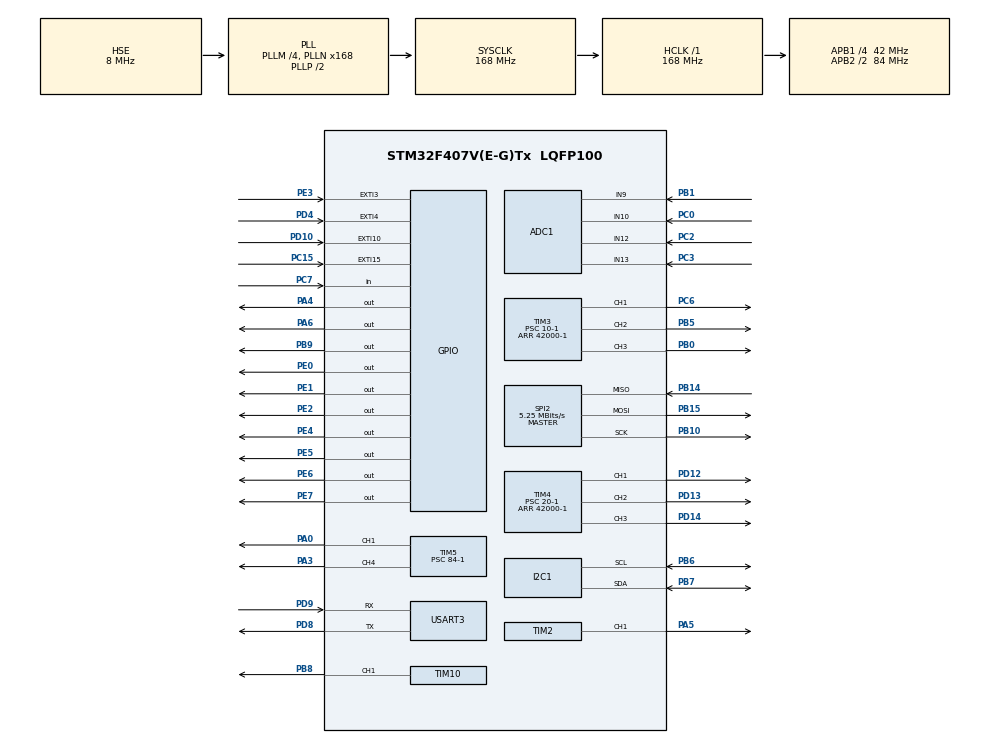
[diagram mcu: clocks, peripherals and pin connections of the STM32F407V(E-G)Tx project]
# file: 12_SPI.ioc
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ADC1.Channel-0\#ChannelRegularConversion=ADC_CHANNEL_10
ADC1.Channel-1\#ChannelRegularConversion=ADC_CHANNEL_12
ADC1.Channel-2\#ChannelRegularConversion=ADC_CHANNEL_13
ADC1.Channel-3\#ChannelRegularConversion=ADC_CHANNEL_9
ADC1.ContinuousConvMode=ENABLE
ADC1.DMAContinuousRequests=ENABLE
ADC1.NbrOfConversion=4
ADC1.NbrOfConversionFlag=1
ADC1.Rank-0\#ChannelRegularConversion=1
ADC1.Rank-1\#ChannelRegularConversion=2
ADC1.Rank-2\#ChannelRegularConversion=3
ADC1.Rank-3\#ChannelRegularConversion=4
ADC1.SamplingTime-0\#ChannelRegularConversion=ADC_SAMPLETIME_84CYCLES
ADC1.SamplingTime-1\#ChannelRegularConversion=ADC_SAMPLETIME_84CYCLES
ADC1.SamplingTime-2\#ChannelRegularConversion=ADC_SAMPLETIME_84CYCLES
ADC1.SamplingTime-3\#ChannelRegularConversion=ADC_SAMPLETIME_84CYCLES
ADC1.ScanConvMode=ENABLE
ADC1.master=1
Dma.ADC1.0.Direction=DMA_PERIPH_TO_MEMORY
Dma.ADC1.0.FIFOMode=DMA_FIFOMODE_DISABLE
Dma.ADC1.0.Instance=DMA2_Stream0
Dma.ADC1.0.MemDataAlignment=DMA_MDATAALIGN_HALFWORD
Dma.ADC1.0.MemInc=DMA_MINC_ENABLE
Dma.ADC1.0.Mode=DMA_CIRCULAR
Dma.ADC1.0.PeriphDataAlignment=DMA_PDATAALIGN_HALFWORD
Dma.ADC1.0.PeriphInc=DMA_PINC_DISABLE
Dma.ADC1.0.Priority=DMA_PRIORITY_LOW
Dma.Request0=ADC1
I2C1.I2C_Mode=I2C_Fast
Mcu.Family=STM32F4
Mcu.Name=STM32F407V(E-G)Tx
Mcu.Package=LQFP100
NVIC.DMA2_Stream0_IRQn=true\:0\:0\:false\:false\:true\:false\:true\:true
NVIC.EXTI15_10_IRQn=true\:0\:0\:false\:true\:true\:5\:true\:true\:true
NVIC.EXTI3_IRQn=true\:0\:0\:false\:true\:true\:3\:true\:true\:true
NVIC.EXTI4_IRQn=true\:0\:0\:false\:true\:true\:4\:true\:true\:true
NVIC.PriorityGroup=NVIC_PRIORITYGROUP_4
NVIC.TIM7_IRQn=true\:0\:0\:false\:true\:true\:2\:true\:true\:true
NVIC.USART3_IRQn=true\:0\:0\:false\:true\:true\:1\:true\:true\:true
PA0-WKUP.Signal=S_TIM5_CH1
PA3.Signal=S_TIM5_CH4
PA4.Signal=GPIO_Output
PA5.Signal=S_TIM2_CH1_ETR
PA6.Signal=GPIO_Output
PB0.Signal=S_TIM3_CH3
PB1.Signal=ADCx_IN9
PB10.Mode=Full_Duplex_Master
PB10.Signal=SPI2_SCK
PB14.Mode=Full_Duplex_Master
PB14.Signal=SPI2_MISO
PB15.Mode=Full_Duplex_Master
PB15.Signal=SPI2_MOSI
PB5.Signal=S_TIM3_CH2
PB6.Mode=I2C
PB6.Signal=I2C1_SCL
PB7.Mode=I2C
PB7.Signal=I2C1_SDA
PB8.Signal=S_TIM10_CH1
PB9.Signal=GPIO_Output
PC0.Signal=ADCx_IN10
PC15-OSC32_OUT.Signal=GPXTI15
PC2.Signal=ADCx_IN12
PC3.Signal=ADCx_IN13
PC6.Signal=S_TIM3_CH1
PC7.Signal=GPIO_Input
PD10.Signal=GPXTI10
PD12.Signal=S_TIM4_CH1
PD13.Signal=S_TIM4_CH2
PD14.Signal=S_TIM4_CH3
PD4.Signal=GPXTI4
PD8.Mode=Asynchronous
PD8.Signal=USART3_TX
PD9.Mode=Asynchronous
PD9.Signal=USART3_RX
PE0.Signal=GPIO_Output
PE1.Signal=GPIO_Output
PE2.Signal=GPIO_Output
PE3.Signal=GPXTI3
PE4.Signal=GPIO_Output
PE5.Signal=GPIO_Output
PE6.Signal=GPIO_Output
PE7.Signal=GPIO_Output
PH0-OSC_IN.Mode=HSE-External-Oscillator
PH0-OSC_IN.Signal=RCC_OSC_IN
PH1-OSC_OUT.Mode=HSE-External-Oscillator
PH1-OSC_OUT.Signal=RCC_OSC_OUT
ProjectManager.HeapSize=0x200
ProjectManager.StackSize=0x400
ProjectManager.TargetToolchain=STM32CubeIDE
RCC.48MHZClocksFreq_Value=84000000
RCC.AHBFreq_Value=168000000
RCC.APB1CLKDivider=RCC_HCLK_DIV4
RCC.APB1Freq_Value=42000000
RCC.APB1TimFreq_Value=84000000
RCC.APB2CLKDivider=RCC_HCLK_DIV2
RCC.APB2Freq_Value=84000000
RCC.APB2TimFreq_Value=168000000
RCC.CortexFreq_Value=168000000
RCC.HCLKFreq_Value=168000000
RCC.HSE_VALUE=8000000
RCC.HSI_VALUE=16000000
RCC.LSE_VALUE=32768
RCC.PLLM=4
RCC.PLLN=168
RCC.PLLSourceVirtual=RCC_PLLSOURCE_HSE
RCC.SYSCLKFreq_VALUE=168000000
RCC.SYSCLKSource=RCC_SYSCLKSOURCE_PLLCLK
RCC.VCOOutputFreq_Value=336000000
SH.ADCx_IN10.0=ADC1_IN10,IN10
SH.ADCx_IN12.0=ADC1_IN12,IN12
SH.ADCx_IN13.0=ADC1_IN13,IN13
SH.ADCx_IN9.0=ADC1_IN9,IN9
SH.S_TIM10_CH1.0=TIM10_CH1,PWM Generation1 CH1
SH.S_TIM2_CH1_ETR.0=TIM2_CH1,PWM Generation1 CH1
SH.S_TIM3_CH1.0=TIM3_CH1,PWM Generation1 CH1
SH.S_TIM3_CH2.0=TIM3_CH2,PWM Generation2 CH2
SH.S_TIM3_CH3.0=TIM3_CH3,PWM Generation3 CH3
SH.S_TIM4_CH1.0=TIM4_CH1,PWM Generation1 CH1
SH.S_TIM4_CH2.0=TIM4_CH2,PWM Generation2 CH2
SH.S_TIM4_CH3.0=TIM4_CH3,PWM Generation3 CH3
SH.S_TIM5_CH1.0=TIM5_CH1,PWM Generation1 CH1
SH.S_TIM5_CH4.0=TIM5_CH4,PWM Generation4 CH4
SPI2.BaudRatePrescaler=SPI_BAUDRATEPRESCALER_8
SPI2.CLKPhase=SPI_PHASE_2EDGE
SPI2.CLKPolarity=SPI_POLARITY_HIGH
SPI2.CalculateBaudRate=5.25 MBits/s
SPI2.Direction=SPI_DIRECTION_2LINES
SPI2.Mode=SPI_MODE_MASTER
SPI2.VirtualType=VM_MASTER
TIM10.Channel=TIM_CHANNEL_1
TIM10.Period=10000-1
TIM10.Prescaler=336-1
TIM10.Pulse=100
TIM2.Channel-PWM\ Generation1\ CH1=TIM_CHANNEL_1
TIM2.Period=168-1
TIM2.Prescaler=1000-1
TIM2.Pulse-PWM\ Generation1\ CH1=84
TIM3.Channel-PWM\ Generation1\ CH1=TIM_CHANNEL_1
TIM3.Channel-PWM\ Generation2\ CH2=TIM_CHANNEL_2
TIM3.Channel-PWM\ Generation3\ CH3=TIM_CHANNEL_3
TIM3.Period=42000-1
TIM3.Prescaler=10-1
TIM3.Pulse-PWM\ Generation1\ CH1=21000-1
TIM3.Pulse-PWM\ Generation2\ CH2=10500-1
TIM3.Pulse-PWM\ Generation3\ CH3=5250-1
TIM4.Channel-PWM\ Generation1\ CH1=TIM_CHANNEL_1
TIM4.Channel-PWM\ Generation2\ CH2=TIM_CHANNEL_2
TIM4.Channel-PWM\ Generation3\ CH3=TIM_CHANNEL_3
TIM4.Period=42000-1
TIM4.Prescaler=20-1
TIM4.Pulse-PWM\ Generation1\ CH1=21000-1
TIM4.Pulse-PWM\ Generation2\ CH2=10500-1
TIM4.Pulse-PWM\ Generation3\ CH3=5250-1
TIM5.Channel-PWM\ Generation1\ CH1=TIM_CHANNEL_1
TIM5.Channel-PWM\ Generation4\ CH4=TIM_CHANNEL_4
TIM5.Period=10000-1
TIM5.Prescaler=84-1
TIM5.Pulse-PWM\ Generation4\ CH4=5000
TIM7.Period=8400-1
TIM7.Prescaler=10-1
USART3.VirtualMode=VM_ASYNC
VP_TIM10_VS_ClockSourceINT.Mode=Enable_Timer
VP_TIM2_VS_ClockSourceINT.Mode=Internal
VP_TIM3_VS_ClockSourceINT.Mode=Internal
VP_TIM4_VS_ClockSourceINT.Mode=Internal
VP_TIM5_VS_ClockSourceINT.Mode=Internal
VP_TIM7_VS_ClockSourceINT.Mode=Enable_Timer
board=custom

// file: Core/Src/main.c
/* USER CODE BEGIN Header */
/**
 ******************************************************************************
 * @file           : main.c
 * @brief          : Main program body
 ******************************************************************************
 * @attention
 *
 * Copyright (c) 2024 STMicroelectronics.
 * All rights reserved.
 *
 * This software is licensed under terms that can be found in the LICENSE file
 * in the root directory of this software component.
 * If no LICENSE file comes with this software, it is provided AS-IS.
 *
 ******************************************************************************
 */
/* USER CODE END Header */
#include "main.h"

/* USER CODE BEGIN Includes */
#include <stdio.h>
#include <string.h>
#include "CLCD.h"
#include "7SEG.h"
#include <math.h>
#include "VS1003.h"
#include "MP3Sample.h"
/* USER CODE END Includes */

ADC_HandleTypeDef hadc1;
DMA_HandleTypeDef hdma_adc1;

I2C_HandleTypeDef hi2c1;

SPI_HandleTypeDef hspi2;

TIM_HandleTypeDef htim2;
TIM_HandleTypeDef htim3;
TIM_HandleTypeDef htim4;
TIM_HandleTypeDef htim5;
TIM_HandleTypeDef htim7;
TIM_HandleTypeDef htim10;

UART_HandleTypeDef huart3;

/* USER CODE BEGIN PV */
uint8_t rx3_data;
uint8_t buf = 0;
uint8_t rx3_buf[100] = "uart test";
/* USER CODE END PV */

void SystemClock_Config(void);
static void MX_GPIO_Init(void);
static void MX_DMA_Init(void);
static void MX_USART3_UART_Init(void);
static void MX_TIM7_Init(void);
static void MX_TIM3_Init(void);
static void MX_TIM4_Init(void);
static void MX_TIM10_Init(void);
static void MX_TIM2_Init(void);
static void MX_TIM5_Init(void);
static void MX_ADC1_Init(void);
static void MX_I2C1_Init(void);
static void MX_SPI2_Init(void);
static void MX_NVIC_Init(void);
/* USER CODE BEGIN PFP */
int _write(int file, char *p, int len) {
	HAL_UART_Transmit(&huart3, p, len, 10);
	return len;
}

void HAL_UART_RxCpltCallback(UART_HandleTypeDef *huart) {
	if (huart->Instance == USART3) {
		if (buf < 100 - 1) {
			buf++;
		} else {
			buf = 0;
		}

		if (rx3_buf[buf - 1] == '\n') {
			rx3_buf[buf - 1] = '\0';
			buf = 0;
		}

		HAL_UART_Receive_IT(&huart3, &rx3_buf[buf], 1);
	}
}

void HAL_TIM_PeriodElapsedCallback(TIM_HandleTypeDef *htim) {
	static unsigned char cnt = 0;

//	if (htim->Instance == TIM7) {
//		/*Sin wave*/
//		HAL_DAC_SetValue(&hdac, DAC_CHANNEL_1, DAC_ALIGN_12B_R, (sinf(2 * 3.1415926535f * 100 * cnt / 1000.f) + 1) * 2047); // 100Hz code (this code MAX Frequency 499Hz)
//		cnt++;
//		if(cnt > 999) cnt = 0;
//	}
}

void HAL_GPIO_EXTI_Callback(uint16_t GPIO_Pin) {
//	if (GPIO_Pin == GPIO_PIN_3) {
//		HAL_GPIO_TogglePin(GPIOD, GPIO_PIN_12);
//	}
//	if (GPIO_Pin == GPIO_PIN_15) {
//		HAL_GPIO_TogglePin(GPIOD, GPIO_PIN_13);
//	}
//	if (GPIO_Pin == GPIO_PIN_4) {
//		HAL_GPIO_TogglePin(GPIOD, GPIO_PIN_14);
//	}
//	if (GPIO_Pin == GPIO_PIN_10) {
//		HAL_GPIO_TogglePin(GPIOB, GPIO_PIN_0);
//	}
}
/* USER CODE END PFP */

int main(void) {
	/* USER CODE BEGIN 1 */
	volatile uint16_t adcval[4];
	/* USER CODE END 1 */

	/* MCU Configuration--------------------------------------------------------*/

	/* Reset of all peripherals, Initializes the Flash interface and the Systick. */
	HAL_Init();

	/* Configure the system clock */
	SystemClock_Config();

	/* Initialize all configured peripherals */
	MX_GPIO_Init();
	MX_DMA_Init();
	MX_USART3_UART_Init();
	MX_TIM7_Init();
	MX_TIM3_Init();
	MX_TIM4_Init();
	MX_TIM10_Init();
	MX_TIM2_Init();
	MX_TIM5_Init();
	MX_ADC1_Init();
	MX_I2C1_Init();
	MX_SPI2_Init();

	/* Initialize interrupts */
	MX_NVIC_Init();
	/* USER CODE BEGIN 2 */
	HAL_GPIO_WritePin(GPIOD, GPIO_PIN_12, GPIO_PIN_SET);
	HAL_GPIO_WritePin(GPIOD, GPIO_PIN_13, GPIO_PIN_SET);
	HAL_GPIO_WritePin(GPIOD, GPIO_PIN_14, GPIO_PIN_SET);
	HAL_GPIO_WritePin(GPIOC, GPIO_PIN_6, GPIO_PIN_SET);
	HAL_GPIO_WritePin(GPIOB, GPIO_PIN_0, GPIO_PIN_SET);
	HAL_GPIO_WritePin(GPIOB, GPIO_PIN_5, GPIO_PIN_SET);

//	HAL_UART_Receive_IT(&huart3, &rx3_buf[buf], 1);
	HAL_TIM_Base_Start_IT(&htim7);

//	HAL_TIM_PWM_Start(&htim3, TIM_CHANNEL_1);
//	HAL_TIM_PWM_Start(&htim3, TIM_CHANNEL_2);
//	HAL_TIM_PWM_Start(&htim3, TIM_CHANNEL_3);
//	HAL_TIM_PWM_Start(&htim4, TIM_CHANNEL_1);
//	HAL_TIM_PWM_Start(&htim4, TIM_CHANNEL_2);
//	HAL_TIM_PWM_Start(&htim4, TIM_CHANNEL_3);

	/*Servo motor*/
//	HAL_TIM_PWM_Start(&htim10, TIM_CHANNEL_1);
//	TIM10->CCR1 = 1500;
	/*Buzzer*/
//	HAL_TIM_PWM_Start(&htim2, TIM_CHANNEL_1);
//	TIM2->ARR = 500 - 1;
//	TIM2->CCR1 = 250;
	/*DC motor 100Hz Positive*/
//	HAL_TIM_PWM_Start(&htim5, TIM_CHANNEL_4); // motor driver input A, 50% pwm
//	HAL_TIM_PWM_Start(&htim5, TIM_CHANNEL_1); // motor driver input B, 0% pwm
	/*DC motor 100Hz Negative*/
//	TIM5->CCR4 = 0;
//	TIM5->CCR1 = 5000;
//
//	HAL_ADC_Start_DMA(&hadc1, &adcval[0], 4);
//	HAL_DAC_Start(&hdac, DAC_CHANNEL_1);
	VS1003_Init();
	VS1003_SoftReset();

	CLCD_GPIO_Init();
	CLCD_Init();

	CLCD_Puts(0, 0, "Welcome to");
	CLCD_Puts(0, 1, "Kkang Home");

//	CLCD_Clear();

//	_7SEG_GPIO_Init();
	/* USER CODE END 2 */

	/* Infinite loop */
	/* USER CODE BEGIN WHILE */
	uint8_t a = 0;
	uint8_t str[20];
	uint16_t ccr = 0;
	uint16_t arr = 1000;
	uint16_t psc = 1000;
	uint8_t ud_flag = 0;
	uint16_t dacval = 0;
	uint8_t eeprom[10] = { 0x00, 0x11, 0x22, 0x33, 0x44, 0x55, 0x66, 0x77, 0x88,
			0x99 };
	int i = 0;

//	HAL_I2C_Mem_Write(&hi2c1, 0xA0, 0x00, I2C_MEMADD_SIZE_8BIT, &eeprom[0], 10,
//			10);
//
//	HAL_Delay(3); // EEPROM Write Delay
//
//	for (int i = 0; i < 10; i++) {
//		eeprom[i] = 0x00;
//	}
//
//	HAL_I2C_Mem_Read(&hi2c1, 0xA0, 0x00, I2C_MEMADD_SIZE_8BIT, &eeprom[0], 10,
//			10);
//
//	sprintf(str, "%02x %02x %02x %02x %02x", eeprom[0], eeprom[1], eeprom[2],
//			eeprom[3], eeprom[4]);
//	CLCD_Puts(0, 0, str);
//	sprintf(str, "%02x %02x %02x %02x %02x", eeprom[5], eeprom[6], eeprom[7],
//			eeprom[8], eeprom[9]);
//	CLCD_Puts(0, 1, str);

	while (1) {
		if (MP3_DREQ == 1) {
			if (sizeof(MP3_DATA) > i) {
				VS1003_WriteData(&MP3_DATA[i]);
				i += 32;
			}
			else {
				i = 0;
			}
		}

		/* USER CODE END WHILE */

	}
}

void SystemClock_Config(void) {
	RCC_OscInitTypeDef RCC_OscInitStruct = { 0 };
	RCC_ClkInitTypeDef RCC_ClkInitStruct = { 0 };

	/** Configure the main internal regulator output voltage
	 */
	__HAL_RCC_PWR_CLK_ENABLE();
	__HAL_PWR_VOLTAGESCALING_CONFIG(PWR_REGULATOR_VOLTAGE_SCALE1);

	/** Initializes the RCC Oscillators according to the specified parameters
	 * in the RCC_OscInitTypeDef structure.
	 */
	RCC_OscInitStruct.OscillatorType = RCC_OSCILLATORTYPE_HSE;
	RCC_OscInitStruct.HSEState = RCC_HSE_ON;
	RCC_OscInitStruct.PLL.PLLState = RCC_PLL_ON;
	RCC_OscInitStruct.PLL.PLLSource = RCC_PLLSOURCE_HSE;
	RCC_OscInitStruct.PLL.PLLM = 4;
	RCC_OscInitStruct.PLL.PLLN = 168;
	RCC_OscInitStruct.PLL.PLLP = RCC_PLLP_DIV2;
	RCC_OscInitStruct.PLL.PLLQ = 4;
	if (HAL_RCC_OscConfig(&RCC_OscInitStruct) != HAL_OK) {
		Error_Handler();
	}

	/** Initializes the CPU, AHB and APB buses clocks
	 */
	RCC_ClkInitStruct.ClockType = RCC_CLOCKTYPE_HCLK | RCC_CLOCKTYPE_SYSCLK
			| RCC_CLOCKTYPE_PCLK1 | RCC_CLOCKTYPE_PCLK2;
	RCC_ClkInitStruct.SYSCLKSource = RCC_SYSCLKSOURCE_PLLCLK;
	RCC_ClkInitStruct.AHBCLKDivider = RCC_SYSCLK_DIV1;
	RCC_ClkInitStruct.APB1CLKDivider = RCC_HCLK_DIV4;
	RCC_ClkInitStruct.APB2CLKDivider = RCC_HCLK_DIV2;

	if (HAL_RCC_ClockConfig(&RCC_ClkInitStruct, FLASH_LATENCY_5) != HAL_OK) {
		Error_Handler();
	}
}

/**
 * @brief NVIC Configuration.
 * @retval None
 */
static void MX_NVIC_Init(void) {
	/* USART3_IRQn interrupt configuration */
	HAL_NVIC_SetPriority(USART3_IRQn, 0, 0);
	HAL_NVIC_EnableIRQ(USART3_IRQn);
	/* TIM7_IRQn interrupt configuration */
	HAL_NVIC_SetPriority(TIM7_IRQn, 0, 0);
	HAL_NVIC_EnableIRQ(TIM7_IRQn);
	/* EXTI3_IRQn interrupt configuration */
	HAL_NVIC_SetPriority(EXTI3_IRQn, 0, 0);
	HAL_NVIC_EnableIRQ(EXTI3_IRQn);
	/* EXTI4_IRQn interrupt configuration */
	HAL_NVIC_SetPriority(EXTI4_IRQn, 0, 0);
	HAL_NVIC_EnableIRQ(EXTI4_IRQn);
	/* EXTI15_10_IRQn interrupt configuration */
	HAL_NVIC_SetPriority(EXTI15_10_IRQn, 0, 0);
	HAL_NVIC_EnableIRQ(EXTI15_10_IRQn);
}

static void MX_ADC1_Init(void) {

	ADC_ChannelConfTypeDef sConfig = { 0 };

	/** Configure the global features of the ADC (Clock, Resolution, Data Alignment and number of conversion)
	 */
	hadc1.Instance = ADC1;
	hadc1.Init.ClockPrescaler = ADC_CLOCK_SYNC_PCLK_DIV4;
	hadc1.Init.Resolution = ADC_RESOLUTION_12B;
	hadc1.Init.ScanConvMode = ENABLE;
	hadc1.Init.ContinuousConvMode = ENABLE;
	hadc1.Init.DiscontinuousConvMode = DISABLE;
	hadc1.Init.ExternalTrigConvEdge = ADC_EXTERNALTRIGCONVEDGE_NONE;
	hadc1.Init.ExternalTrigConv = ADC_SOFTWARE_START;
	hadc1.Init.DataAlign = ADC_DATAALIGN_RIGHT;
	hadc1.Init.NbrOfConversion = 4;
	hadc1.Init.DMAContinuousRequests = ENABLE;
	hadc1.Init.EOCSelection = ADC_EOC_SINGLE_CONV;
	if (HAL_ADC_Init(&hadc1) != HAL_OK) {
		Error_Handler();
	}

	/** Configure for the selected ADC regular channel its corresponding rank in the sequencer and its sample time.
	 */
	sConfig.Channel = ADC_CHANNEL_10;
	sConfig.Rank = 1;
	sConfig.SamplingTime = ADC_SAMPLETIME_84CYCLES;
	if (HAL_ADC_ConfigChannel(&hadc1, &sConfig) != HAL_OK) {
		Error_Handler();
	}

	/** Configure for the selected ADC regular channel its corresponding rank in the sequencer and its sample time.
	 */
	sConfig.Channel = ADC_CHANNEL_12;
	sConfig.Rank = 2;
	if (HAL_ADC_ConfigChannel(&hadc1, &sConfig) != HAL_OK) {
		Error_Handler();
	}

	/** Configure for the selected ADC regular channel its corresponding rank in the sequencer and its sample time.
	 */
	sConfig.Channel = ADC_CHANNEL_13;
	sConfig.Rank = 3;
	if (HAL_ADC_ConfigChannel(&hadc1, &sConfig) != HAL_OK) {
		Error_Handler();
	}

	/** Configure for the selected ADC regular channel its corresponding rank in the sequencer and its sample time.
	 */
	sConfig.Channel = ADC_CHANNEL_9;
	sConfig.Rank = 4;
	if (HAL_ADC_ConfigChannel(&hadc1, &sConfig) != HAL_OK) {
		Error_Handler();
	}

}

static void MX_I2C1_Init(void) {

	hi2c1.Instance = I2C1;
	hi2c1.Init.ClockSpeed = 400000;
	hi2c1.Init.DutyCycle = I2C_DUTYCYCLE_2;
	hi2c1.Init.OwnAddress1 = 0;
	hi2c1.Init.AddressingMode = I2C_ADDRESSINGMODE_7BIT;
	hi2c1.Init.DualAddressMode = I2C_DUALADDRESS_DISABLE;
	hi2c1.Init.OwnAddress2 = 0;
	hi2c1.Init.GeneralCallMode = I2C_GENERALCALL_DISABLE;
	hi2c1.Init.NoStretchMode = I2C_NOSTRETCH_DISABLE;
	if (HAL_I2C_Init(&hi2c1) != HAL_OK) {
		Error_Handler();
	}

}

static void MX_SPI2_Init(void) {

	/* SPI2 parameter configuration*/
	hspi2.Instance = SPI2;
	hspi2.Init.Mode = SPI_MODE_MASTER;
	hspi2.Init.Direction = SPI_DIRECTION_2LINES;
	hspi2.Init.DataSize = SPI_DATASIZE_8BIT;
	hspi2.Init.CLKPolarity = SPI_POLARITY_HIGH;
	hspi2.Init.CLKPhase = SPI_PHASE_2EDGE;
	hspi2.Init.NSS = SPI_NSS_SOFT;
	hspi2.Init.BaudRatePrescaler = SPI_BAUDRATEPRESCALER_8;
	hspi2.Init.FirstBit = SPI_FIRSTBIT_MSB;
	hspi2.Init.TIMode = SPI_TIMODE_DISABLE;
	hspi2.Init.CRCCalculation = SPI_CRCCALCULATION_DISABLE;
	hspi2.Init.CRCPolynomial = 10;
	if (HAL_SPI_Init(&hspi2) != HAL_OK) {
		Error_Handler();
	}

}

static void MX_TIM2_Init(void) {

	TIM_ClockConfigTypeDef sClockSourceConfig = { 0 };
	TIM_MasterConfigTypeDef sMasterConfig = { 0 };
	TIM_OC_InitTypeDef sConfigOC = { 0 };

	htim2.Instance = TIM2;
	htim2.Init.Prescaler = 1000 - 1;
	htim2.Init.CounterMode = TIM_COUNTERMODE_UP;
	htim2.Init.Period = 168 - 1;
	htim2.Init.ClockDivision = TIM_CLOCKDIVISION_DIV1;
	htim2.Init.AutoReloadPreload = TIM_AUTORELOAD_PRELOAD_DISABLE;
	if (HAL_TIM_Base_Init(&htim2) != HAL_OK) {
		Error_Handler();
	}
	sClockSourceConfig.ClockSource = TIM_CLOCKSOURCE_INTERNAL;
	if (HAL_TIM_ConfigClockSource(&htim2, &sClockSourceConfig) != HAL_OK) {
		Error_Handler();
	}
	if (HAL_TIM_PWM_Init(&htim2) != HAL_OK) {
		Error_Handler();
	}
	sMasterConfig.MasterOutputTrigger = TIM_TRGO_RESET;
	sMasterConfig.MasterSlaveMode = TIM_MASTERSLAVEMODE_DISABLE;
	if (HAL_TIMEx_MasterConfigSynchronization(&htim2, &sMasterConfig)
			!= HAL_OK) {
		Error_Handler();
	}
	sConfigOC.OCMode = TIM_OCMODE_PWM1;
	sConfigOC.Pulse = 84;
	sConfigOC.OCPolarity = TIM_OCPOLARITY_HIGH;
	sConfigOC.OCFastMode = TIM_OCFAST_DISABLE;
	if (HAL_TIM_PWM_ConfigChannel(&htim2, &sConfigOC, TIM_CHANNEL_1)
			!= HAL_OK) {
		Error_Handler();
	}
	HAL_TIM_MspPostInit(&htim2);

}

static void MX_TIM3_Init(void) {

	TIM_ClockConfigTypeDef sClockSourceConfig = { 0 };
	TIM_MasterConfigTypeDef sMasterConfig = { 0 };
	TIM_OC_InitTypeDef sConfigOC = { 0 };

	htim3.Instance = TIM3;
	htim3.Init.Prescaler = 10 - 1;
	htim3.Init.CounterMode = TIM_COUNTERMODE_UP;
	htim3.Init.Period = 42000 - 1;
	htim3.Init.ClockDivision = TIM_CLOCKDIVISION_DIV1;
	htim3.Init.AutoReloadPreload = TIM_AUTORELOAD_PRELOAD_DISABLE;
	if (HAL_TIM_Base_Init(&htim3) != HAL_OK) {
		Error_Handler();
	}
	sClockSourceConfig.ClockSource = TIM_CLOCKSOURCE_INTERNAL;
	if (HAL_TIM_ConfigClockSource(&htim3, &sClockSourceConfig) != HAL_OK) {
		Error_Handler();
	}
	if (HAL_TIM_PWM_Init(&htim3) != HAL_OK) {
		Error_Handler();
	}
	sMasterConfig.MasterOutputTrigger = TIM_TRGO_RESET;
	sMasterConfig.MasterSlaveMode = TIM_MASTERSLAVEMODE_DISABLE;
	if (HAL_TIMEx_MasterConfigSynchronization(&htim3, &sMasterConfig)
			!= HAL_OK) {
		Error_Handler();
	}
	sConfigOC.OCMode = TIM_OCMODE_PWM1;
	sConfigOC.Pulse = 21000 - 1;
	sConfigOC.OCPolarity = TIM_OCPOLARITY_HIGH;
	sConfigOC.OCFastMode = TIM_OCFAST_DISABLE;
	if (HAL_TIM_PWM_ConfigChannel(&htim3, &sConfigOC, TIM_CHANNEL_1)
			!= HAL_OK) {
		Error_Handler();
	}
	sConfigOC.Pulse = 10500 - 1;
	if (HAL_TIM_PWM_ConfigChannel(&htim3, &sConfigOC, TIM_CHANNEL_2)
			!= HAL_OK) {
		Error_Handler();
	}
	sConfigOC.Pulse = 5250 - 1;
	if (HAL_TIM_PWM_ConfigChannel(&htim3, &sConfigOC, TIM_CHANNEL_3)
			!= HAL_OK) {
		Error_Handler();
	}
	HAL_TIM_MspPostInit(&htim3);

}

static void MX_TIM4_Init(void) {

	TIM_ClockConfigTypeDef sClockSourceConfig = { 0 };
	TIM_MasterConfigTypeDef sMasterConfig = { 0 };
	TIM_OC_InitTypeDef sConfigOC = { 0 };

	htim4.Instance = TIM4;
	htim4.Init.Prescaler = 20 - 1;
	htim4.Init.CounterMode = TIM_COUNTERMODE_UP;
	htim4.Init.Period = 42000 - 1;
	htim4.Init.ClockDivision = TIM_CLOCKDIVISION_DIV1;
	htim4.Init.AutoReloadPreload = TIM_AUTORELOAD_PRELOAD_DISABLE;
	if (HAL_TIM_Base_Init(&htim4) != HAL_OK) {
		Error_Handler();
	}
	sClockSourceConfig.ClockSource = TIM_CLOCKSOURCE_INTERNAL;
	if (HAL_TIM_ConfigClockSource(&htim4, &sClockSourceConfig) != HAL_OK) {
		Error_Handler();
	}
	if (HAL_TIM_PWM_Init(&htim4) != HAL_OK) {
		Error_Handler();
	}
	sMasterConfig.MasterOutputTrigger = TIM_TRGO_RESET;
	sMasterConfig.MasterSlaveMode = TIM_MASTERSLAVEMODE_DISABLE;
	if (HAL_TIMEx_MasterConfigSynchronization(&htim4, &sMasterConfig)
			!= HAL_OK) {
		Error_Handler();
	}
	sConfigOC.OCMode = TIM_OCMODE_PWM1;
	sConfigOC.Pulse = 21000 - 1;
	sConfigOC.OCPolarity = TIM_OCPOLARITY_HIGH;
	sConfigOC.OCFastMode = TIM_OCFAST_DISABLE;
	if (HAL_TIM_PWM_ConfigChannel(&htim4, &sConfigOC, TIM_CHANNEL_1)
			!= HAL_OK) {
		Error_Handler();
	}
	sConfigOC.Pulse = 10500 - 1;
	if (HAL_TIM_PWM_ConfigChannel(&htim4, &sConfigOC, TIM_CHANNEL_2)
			!= HAL_OK) {
		Error_Handler();
	}
	sConfigOC.Pulse = 5250 - 1;
	if (HAL_TIM_PWM_ConfigChannel(&htim4, &sConfigOC, TIM_CHANNEL_3)
			!= HAL_OK) {
		Error_Handler();
	}
	HAL_TIM_MspPostInit(&htim4);

}

static void MX_TIM5_Init(void) {

	TIM_ClockConfigTypeDef sClockSourceConfig = { 0 };
	TIM_MasterConfigTypeDef sMasterConfig = { 0 };
	TIM_OC_InitTypeDef sConfigOC = { 0 };

	htim5.Instance = TIM5;
	htim5.Init.Prescaler = 84 - 1;
	htim5.Init.CounterMode = TIM_COUNTERMODE_UP;
	htim5.Init.Period = 10000 - 1;
	htim5.Init.ClockDivision = TIM_CLOCKDIVISION_DIV1;
	htim5.Init.AutoReloadPreload = TIM_AUTORELOAD_PRELOAD_DISABLE;
	if (HAL_TIM_Base_Init(&htim5) != HAL_OK) {
		Error_Handler();
	}
	sClockSourceConfig.ClockSource = TIM_CLOCKSOURCE_INTERNAL;
	if (HAL_TIM_ConfigClockSource(&htim5, &sClockSourceConfig) != HAL_OK) {
		Error_Handler();
	}
	if (HAL_TIM_PWM_Init(&htim5) != HAL_OK) {
		Error_Handler();
	}
	sMasterConfig.MasterOutputTrigger = TIM_TRGO_RESET;
	sMasterConfig.MasterSlaveMode = TIM_MASTERSLAVEMODE_DISABLE;
	if (HAL_TIMEx_MasterConfigSynchronization(&htim5, &sMasterConfig)
			!= HAL_OK) {
		Error_Handler();
	}
	sConfigOC.OCMode = TIM_OCMODE_PWM1;
	sConfigOC.Pulse = 0;
	sConfigOC.OCPolarity = TIM_OCPOLARITY_HIGH;
	sConfigOC.OCFastMode = TIM_OCFAST_DISABLE;
	if (HAL_TIM_PWM_ConfigChannel(&htim5, &sConfigOC, TIM_CHANNEL_1)
			!= HAL_OK) {
		Error_Handler();
	}
	sConfigOC.Pulse = 5000;
	if (HAL_TIM_PWM_ConfigChannel(&htim5, &sConfigOC, TIM_CHANNEL_4)
			!= HAL_OK) {
		Error_Handler();
	}
	HAL_TIM_MspPostInit(&htim5);

}

static void MX_TIM7_Init(void) {

	TIM_MasterConfigTypeDef sMasterConfig = { 0 };

	htim7.Instance = TIM7;
	htim7.Init.Prescaler = 10 - 1;
	htim7.Init.CounterMode = TIM_COUNTERMODE_UP;
	htim7.Init.Period = 8400 - 1;
	htim7.Init.AutoReloadPreload = TIM_AUTORELOAD_PRELOAD_DISABLE;
	if (HAL_TIM_Base_Init(&htim7) != HAL_OK) {
		Error_Handler();
	}
	sMasterConfig.MasterOutputTrigger = TIM_TRGO_RESET;
	sMasterConfig.MasterSlaveMode = TIM_MASTERSLAVEMODE_DISABLE;
	if (HAL_TIMEx_MasterConfigSynchronization(&htim7, &sMasterConfig)
			!= HAL_OK) {
		Error_Handler();
	}

}

static void MX_TIM10_Init(void) {

	TIM_OC_InitTypeDef sConfigOC = { 0 };

	htim10.Instance = TIM10;
	htim10.Init.Prescaler = 336 - 1;
	htim10.Init.CounterMode = TIM_COUNTERMODE_UP;
	htim10.Init.Period = 10000 - 1;
	htim10.Init.ClockDivision = TIM_CLOCKDIVISION_DIV1;
	htim10.Init.AutoReloadPreload = TIM_AUTORELOAD_PRELOAD_DISABLE;
	if (HAL_TIM_Base_Init(&htim10) != HAL_OK) {
		Error_Handler();
	}
	if (HAL_TIM_PWM_Init(&htim10) != HAL_OK) {
		Error_Handler();
	}
	sConfigOC.OCMode = TIM_OCMODE_PWM1;
	sConfigOC.Pulse = 100;
	sConfigOC.OCPolarity = TIM_OCPOLARITY_HIGH;
	sConfigOC.OCFastMode = TIM_OCFAST_DISABLE;
	if (HAL_TIM_PWM_ConfigChannel(&htim10, &sConfigOC, TIM_CHANNEL_1)
			!= HAL_OK) {
		Error_Handler();
	}
	HAL_TIM_MspPostInit(&htim10);

}

static void MX_USART3_UART_Init(void) {

	huart3.Instance = USART3;
	huart3.Init.BaudRate = 115200;
	huart3.Init.WordLength = UART_WORDLENGTH_8B;
	huart3.Init.StopBits = UART_STOPBITS_1;
	huart3.Init.Parity = UART_PARITY_NONE;
	huart3.Init.Mode = UART_MODE_TX_RX;
	huart3.Init.HwFlowCtl = UART_HWCONTROL_NONE;
	huart3.Init.OverSampling = UART_OVERSAMPLING_16;
	if (HAL_UART_Init(&huart3) != HAL_OK) {
		Error_Handler();
	}

}

static void MX_DMA_Init(void) {

	/* DMA controller clock enable */
	__HAL_RCC_DMA2_CLK_ENABLE();

	/* DMA interrupt init */
	/* DMA2_Stream0_IRQn interrupt configuration */
	HAL_NVIC_SetPriority(DMA2_Stream0_IRQn, 0, 0);
	HAL_NVIC_EnableIRQ(DMA2_Stream0_IRQn);

}

static void MX_GPIO_Init(void) {
	GPIO_InitTypeDef GPIO_InitStruct = { 0 };

	/* GPIO Ports Clock Enable */
	__HAL_RCC_GPIOE_CLK_ENABLE();
	__HAL_RCC_GPIOC_CLK_ENABLE();
	__HAL_RCC_GPIOH_CLK_ENABLE();
	__HAL_RCC_GPIOA_CLK_ENABLE();
	__HAL_RCC_GPIOB_CLK_ENABLE();
	__HAL_RCC_GPIOD_CLK_ENABLE();

	/*Configure GPIO pin Output Level */
	HAL_GPIO_WritePin(GPIOE,
			GPIO_PIN_2 | GPIO_PIN_4 | GPIO_PIN_5 | GPIO_PIN_6 | GPIO_PIN_7
					| GPIO_PIN_0 | GPIO_PIN_1, GPIO_PIN_RESET);

	/*Configure GPIO pin Output Level */
	HAL_GPIO_WritePin(GPIOA, GPIO_PIN_4 | GPIO_PIN_6, GPIO_PIN_RESET);

	/*Configure GPIO pin Output Level */
	HAL_GPIO_WritePin(GPIOB, GPIO_PIN_9, GPIO_PIN_RESET);

	/*Configure GPIO pins : PE2 PE4 PE5 PE6
	 PE7 PE0 PE1 */
	GPIO_InitStruct.Pin = GPIO_PIN_2 | GPIO_PIN_4 | GPIO_PIN_5 | GPIO_PIN_6
			| GPIO_PIN_7 | GPIO_PIN_0 | GPIO_PIN_1;
	GPIO_InitStruct.Mode = GPIO_MODE_OUTPUT_PP;
	GPIO_InitStruct.Pull = GPIO_NOPULL;
	GPIO_InitStruct.Speed = GPIO_SPEED_FREQ_LOW;
	HAL_GPIO_Init(GPIOE, &GPIO_InitStruct);

	/*Configure GPIO pin : PE3 */
	GPIO_InitStruct.Pin = GPIO_PIN_3;
	GPIO_InitStruct.Mode = GPIO_MODE_IT_RISING;
	GPIO_InitStruct.Pull = GPIO_NOPULL;
	HAL_GPIO_Init(GPIOE, &GPIO_InitStruct);

	/*Configure GPIO pin : PC15 */
	GPIO_InitStruct.Pin = GPIO_PIN_15;
	GPIO_InitStruct.Mode = GPIO_MODE_IT_RISING;
	GPIO_InitStruct.Pull = GPIO_NOPULL;
	HAL_GPIO_Init(GPIOC, &GPIO_InitStruct);

	/*Configure GPIO pins : PA4 PA6 */
	GPIO_InitStruct.Pin = GPIO_PIN_4 | GPIO_PIN_6;
	GPIO_InitStruct.Mode = GPIO_MODE_OUTPUT_PP;
	GPIO_InitStruct.Pull = GPIO_NOPULL;
	GPIO_InitStruct.Speed = GPIO_SPEED_FREQ_LOW;
	HAL_GPIO_Init(GPIOA, &GPIO_InitStruct);

	/*Configure GPIO pins : PD10 PD4 */
	GPIO_InitStruct.Pin = GPIO_PIN_10 | GPIO_PIN_4;
	GPIO_InitStruct.Mode = GPIO_MODE_IT_RISING;
	GPIO_InitStruct.Pull = GPIO_NOPULL;
	HAL_GPIO_Init(GPIOD, &GPIO_InitStruct);

	/*Configure GPIO pin : PC7 */
	GPIO_InitStruct.Pin = GPIO_PIN_7;
	GPIO_InitStruct.Mode = GPIO_MODE_INPUT;
	GPIO_InitStruct.Pull = GPIO_NOPULL;
	HAL_GPIO_Init(GPIOC, &GPIO_InitStruct);

	/*Configure GPIO pin : PB9 */
	GPIO_InitStruct.Pin = GPIO_PIN_9;
	GPIO_InitStruct.Mode = GPIO_MODE_OUTPUT_PP;
	GPIO_InitStruct.Pull = GPIO_NOPULL;
	GPIO_InitStruct.Speed = GPIO_SPEED_FREQ_LOW;
	HAL_GPIO_Init(GPIOB, &GPIO_InitStruct);

}

void Error_Handler(void) {
	__disable_irq();
	while (1) {
	}
}
